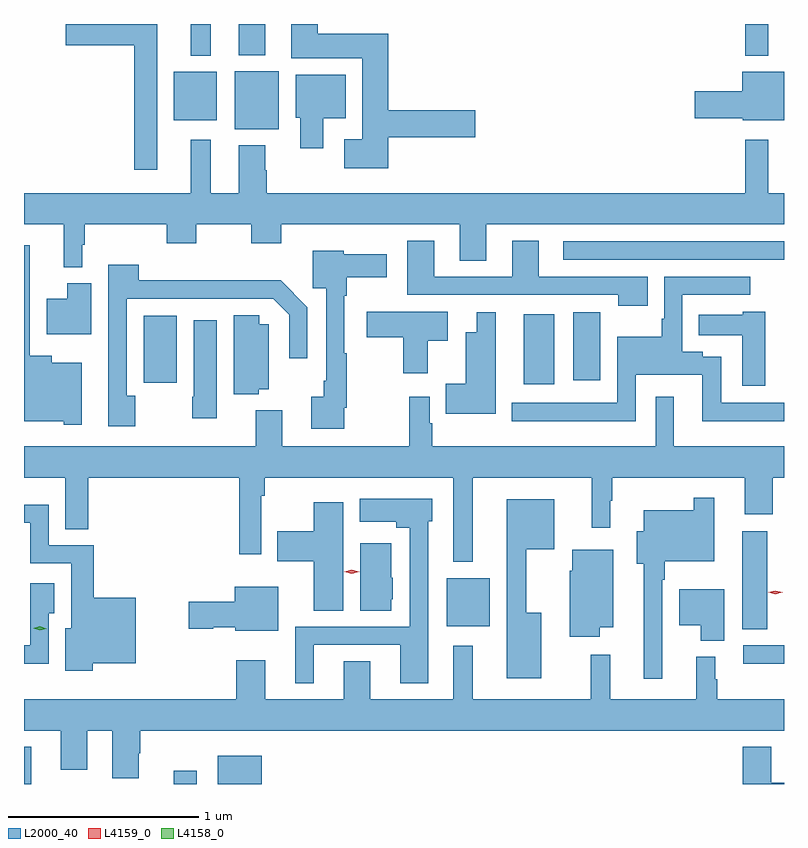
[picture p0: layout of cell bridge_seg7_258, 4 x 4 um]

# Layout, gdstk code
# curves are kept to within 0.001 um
import gdstk
lib = gdstk.Library(unit=1e-6, precision=1e-09)
def R(c, l, rs):  # rectangles x0, y0, x1, y1
    for r in rs: c.add(gdstk.rectangle(r[:2], r[2:], *l))
def P(c, l, *ps):  # polygons
    for p in ps: c.add(gdstk.Polygon(p, *l))
L2000_40 = (2000, 40)
L4158_0 = (4158, 0)
L4159_0 = (4159, 0)

bridge_seg7_258 = lib.new_cell('bridge_seg7_258')
R(bridge_seg7_258, L2000_40, [(226.185,1048.287,226.222,1048.483), (226.973,1048.287,227.095,1048.357), (227.205,1048.287,227.435,1048.435), (229.971,1048.92,230.185,1049.016), (229.964,1049.101,230.098,1049.617), (228.41,1049.117,228.637,1049.371), (228.815,1050.39,228.976,1050.76), (229.076,1050.411,229.219,1050.769), (229.023,1051.047,230.185,1051.143), (227.294,1051.733,227.527,1052.038), (226.973,1051.781,227.2,1052.035), (227.063,1052.12,227.167,1052.287), (229.98,1052.12,230.101,1052.287), (227.315,1052.123,227.455,1052.287)])
P(bridge_seg7_258, L2000_40, [(228.101,1051.69),(228.559,1051.69),(228.559,1051.832),(228.101,1051.832),(228.101,1052.236),(227.731,1052.236),(227.731,1052.287),(227.591,1052.287),(227.591,1052.108),(227.966,1052.108),(227.966,1051.681),(227.871,1051.681),(227.871,1051.529),(228.101,1051.529)],
  [(226.885,1052.287),(226.404,1052.287),(226.404,1052.174),(226.764,1052.174),(226.764,1051.521),(226.885,1051.521)],
  [(230.185,1052.035),(229.964,1052.035),(229.964,1051.934),(229.716,1051.934),(229.716,1051.792),(229.968,1051.792),(229.968,1051.781),(230.185,1051.781)],
  [(227.761,1051.79),(227.878,1051.79),(227.878,1052.02),(227.615,1052.02),(227.615,1051.794),(227.639,1051.794),(227.639,1051.632),(227.761,1051.632)],
  [(226.492,1051.125),(226.504,1051.125),(226.504,1051.232),(226.936,1051.232),(226.936,1051.133),(227.091,1051.133),(227.091,1051.232),(227.38,1051.232),(227.38,1051.133),(227.54,1051.133),(227.54,1051.232),(228.479,1051.232),(228.479,1051.042),(228.619,1051.042),(228.619,1051.232),(230.185,1051.232),(230.185,1051.396),(230.101,1051.396),(230.101,1051.678),(229.98,1051.678),(229.98,1051.396),(227.463,1051.396),(227.463,1051.517),(227.455,1051.517),(227.455,1051.648),(227.315,1051.648),(227.315,1051.396),(227.167,1051.396),(227.167,1051.678),(227.063,1051.678),(227.063,1051.396),(226.185,1051.396),(226.185,1051.232),(226.394,1051.232),(226.394,1051.007),(226.492,1051.007)],
  [(229.469,1050.957),(228.895,1050.957),(228.895,1051.147),(228.755,1051.147),(228.755,1050.957),(228.343,1050.957),(228.343,1051.147),(228.203,1051.147),(228.203,1050.861),(229.313,1050.861),(229.313,1050.804),(229.469,1050.804)],
  [(226.489,1050.505),(226.33,1050.505),(226.33,1050.541),(226.215,1050.541),(226.215,1051.123),(226.185,1051.123),(226.185,1050.197),(226.395,1050.197),(226.395,1050.179),(226.489,1050.179)],
  [(227.871,1050.268),(227.884,1050.268),(227.884,1050.554),(227.871,1050.554),(227.871,1050.857),(227.884,1050.857),(227.884,1050.953),(228.094,1050.953),(228.094,1051.075),(227.868,1051.075),(227.868,1051.093),(227.706,1051.093),(227.706,1050.897),(227.775,1050.897),(227.775,1050.409),(227.763,1050.409),(227.763,1050.326),(227.697,1050.326),(227.697,1050.156),(227.871,1050.156)],
  [(226.771,1050.331),(226.725,1050.331),(226.725,1050.84),(227.496,1050.84),(227.58,1050.756),(227.58,1050.528),(227.676,1050.528),(227.676,1050.796),(227.535,1050.938),(226.789,1050.938),(226.789,1051.021),(226.629,1051.021),(226.628,1050.171),(226.771,1050.171)],
  [(229.404,1050.44),(229.754,1050.44),(229.754,1050.197),(230.185,1050.197),(230.185,1050.294),(229.855,1050.294),(229.855,1050.537),(229.758,1050.537),(229.758,1050.562),(229.65,1050.562),(229.65,1050.861),(230.008,1050.861),(230.008,1050.957),(229.554,1050.957),(229.554,1050.736),(229.542,1050.736),(229.542,1050.64),(229.308,1050.64),(229.308,1050.294),(228.752,1050.294),(228.752,1050.197),(229.404,1050.197)],
  [(226.54,1050.922),(226.412,1050.922),(226.412,1050.841),(226.304,1050.841),(226.304,1050.653),(226.54,1050.653)],
  [(228.31,1050.62),(228.415,1050.62),(228.415,1050.772),(227.988,1050.772),(227.988,1050.638),(228.181,1050.638),(228.181,1050.45),(228.31,1050.45)],
  [(230.086,1050.772),(229.968,1050.772),(229.968,1050.757),(229.737,1050.757),(229.737,1050.65),(229.964,1050.65),(229.964,1050.384),(230.086,1050.384)],
  [(228.667,1050.769),(228.569,1050.769),(228.569,1050.664),(228.509,1050.664),(228.509,1050.394),(228.406,1050.394),(228.406,1050.236),(228.667,1050.236)],
  [(227.421,1050.365),(227.473,1050.365),(227.473,1050.708),(227.424,1050.708),(227.424,1050.755),(227.288,1050.755),(227.288,1050.338),(227.421,1050.338)],
  [(226.99,1050.751),(226.814,1050.751),(226.814,1050.502),(226.815,1050.502),(226.815,1050.399),(226.99,1050.399)],
  [(227.2,1050.727),(227.078,1050.727),(227.078,1050.325),(227.071,1050.325),(227.071,1050.213),(227.2,1050.213)],
  [(228.547,1049.9),(229.172,1049.9),(229.172,1049.637),(229.27,1049.637),(229.27,1049.777),(229.282,1049.777),(229.282,1049.9),(229.979,1049.9),(229.979,1049.706),(230.127,1049.706),(230.127,1049.9),(230.185,1049.9),(230.185,1050.064),(229.606,1050.064),(229.606,1050.325),(229.509,1050.325),(229.509,1050.064),(228.334,1050.064),(228.334,1050.186),(228.321,1050.186),(228.321,1050.325),(228.213,1050.325),(228.213,1050.064),(227.545,1050.064),(227.545,1050.253),(227.405,1050.253),(227.405,1050.064),(226.185,1050.064),(226.185,1049.9),(226.403,1049.9),(226.403,1049.629),(226.522,1049.629),(226.522,1049.9),(227.317,1049.9),(227.317,1049.496),(227.433,1049.496),(227.433,1049.804),(227.453,1049.804),(227.453,1049.9),(228.443,1049.9),(228.443,1049.456),(228.547,1049.456)],
  [(229.545,1049.363),(229.558,1049.363),(229.558,1049.459),(229.818,1049.459),(229.818,1049.794),(229.71,1049.794),(229.71,1049.728),(229.448,1049.728),(229.448,1049.617),(229.409,1049.617),(229.409,1049.447),(229.448,1049.447),(229.448,1048.842),(229.545,1048.842)],
  [(227.71,1049.019),(228.164,1049.019),(228.164,1048.818),(228.312,1048.818),(228.312,1049.467),(228.313,1049.467),(228.313,1049.67),(228.334,1049.67),(228.334,1049.788),(227.951,1049.788),(227.951,1049.666),(228.143,1049.666),(228.143,1049.636),(228.216,1049.636),(228.216,1049.115),(227.612,1049.115),(227.612,1048.818),(227.71,1048.818)],
  [(228.907,1049.188),(228.829,1049.188),(228.829,1049.522),(228.976,1049.522),(228.976,1049.785),(228.725,1049.785),(228.725,1048.844),(228.907,1048.844)],
  [(227.866,1049.77),(227.711,1049.77),(227.711,1049.617),(227.518,1049.617),(227.518,1049.459),(227.711,1049.459),(227.711,1049.2),(227.866,1049.2)],
  [(226.547,1048.922),(226.774,1048.922),(226.774,1049.266),(226.552,1049.266),(226.552,1049.544),(226.314,1049.544),(226.314,1049.758),(226.185,1049.758),(226.185,1049.661),(226.218,1049.661),(226.218,1049.448),(226.433,1049.448),(226.433,1049.107),(226.403,1049.107),(226.403,1048.883),(226.547,1048.883)],
  [(228.118,1049.259),(228.127,1049.259),(228.127,1049.373),(228.118,1049.373),(228.118,1049.554),(227.954,1049.554),(227.954,1049.2),(228.118,1049.2)],
  [(229.216,1049.111),(229.285,1049.111),(229.285,1049.521),(229.07,1049.521),(229.07,1049.409),(229.058,1049.409),(229.058,1049.061),(229.216,1049.061)],
  [(226.314,1049.185),(226.345,1049.185),(226.345,1049.344),(226.218,1049.344),(226.218,1049.016),(226.185,1049.016),(226.185,1048.919),(226.314,1048.919)],
  [(227.524,1049.326),(227.294,1049.326),(227.294,1049.246),(227.052,1049.246),(227.052,1049.104),(227.181,1049.104),(227.181,1049.111),(227.298,1049.111),(227.298,1049.093),(227.524,1049.093)],
  [(229.87,1049.311),(229.634,1049.311),(229.634,1049.123),(229.748,1049.123),(229.748,1049.042),(229.87,1049.042)],
  [(226.789,1048.448),(226.797,1048.448),(226.797,1048.568),(230.185,1048.568),(230.185,1048.732),(229.834,1048.732),(229.834,1048.839),(229.822,1048.839),(229.822,1048.957),(229.724,1048.957),(229.724,1048.732),(229.271,1048.732),(229.271,1048.966),(229.168,1048.966),(229.168,1048.732),(228.547,1048.732),(228.547,1049.014),(228.443,1049.014),(228.443,1048.732),(228.007,1048.732),(228.007,1048.934),(227.867,1048.934),(227.867,1048.732),(227.455,1048.732),(227.455,1048.939),(227.303,1048.939),(227.303,1048.732),(226.185,1048.732),(226.185,1048.568),(226.379,1048.568),(226.379,1048.362),(226.519,1048.362),(226.519,1048.568),(226.649,1048.568),(226.649,1048.316),(226.789,1048.316)],
  [(230.185,1048.293),(230.119,1048.293),(230.119,1048.483),(229.967,1048.483),(229.967,1048.287),(230.185,1048.287)])
P(bridge_seg7_258, L4158_0, [(226.268,1049.096),(226.233,1049.107),(226.233,1049.107),(226.233,1049.107),(226.268,1049.116),(226.304,1049.105),(226.304,1049.105),(226.304,1049.105)])
P(bridge_seg7_258, L4159_0, [(230.14,1049.285),(230.101,1049.295),(230.1,1049.295),(230.101,1049.295),(230.14,1049.305),(230.179,1049.295),(230.179,1049.295),(230.179,1049.295)],
  [(227.911,1049.394),(227.871,1049.404),(227.871,1049.404),(227.871,1049.405),(227.911,1049.414),(227.95,1049.405),(227.95,1049.404),(227.95,1049.404)])

lib.write_gds('bridge_seg7_258.gds')
